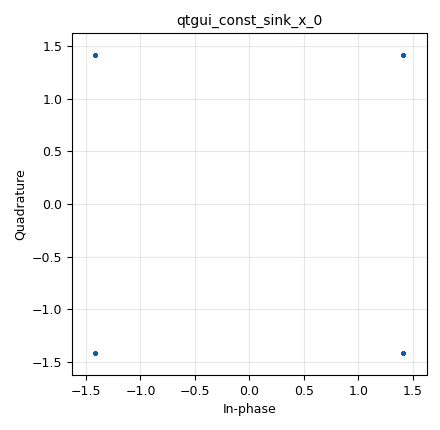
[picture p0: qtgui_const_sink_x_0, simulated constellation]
options:
  parameters:
    author: YASH
    generate_options: qt_gui
    id: bit_error_rate_checker
    output_language: python
    title: Not titled yet
  states: {}

blocks:
- name: amp
  id: variable_qtgui_range
  parameters:
    start: '0'
    step: '1'
    stop: '5'
    value: '1'
  states: {}
- name: constellation_points
  id: variable_constellation
  parameters:
    precision: '8'
    type: qpsk
  states: {}
- name: noise_amp
  id: variable_qtgui_range
  parameters:
    start: '0'
    step: '0.1'
    stop: '2'
    value: '0'
  states: {}
- name: samp_rate
  id: variable
  parameters:
    value: '32000'
  states: {}
- name: analog_noise_source_x_0
  id: analog_noise_source_x
  parameters:
    amp: noise_amp
    noise_type: analog.GR_GAUSSIAN
    seed: '0'
    type: complex
  states: {}
- name: analog_random_source_x_0
  id: analog_random_source_x
  parameters:
    max: '4'
    min: '0'
    num_samps: '1000'
    repeat: 'True'
    type: byte
  states: {}
- name: blocks_add_xx_0
  id: blocks_add_xx
  parameters:
    type: complex
  states: {}
- name: blocks_throttle2_0
  id: blocks_throttle2
  parameters:
    samples_per_second: samp_rate
    type: complex
  states: {}
- name: digital_constellation_decoder_cb_0
  id: digital_constellation_decoder_cb
  parameters:
    constellation: constellation_points
  states: {state: disabled}
- name: digital_constellation_encoder_bc_0
  id: digital_constellation_encoder_bc
  parameters:
    constellation: constellation_points
  states: {}
- name: qtgui_const_sink_x_0
  id: qtgui_const_sink_x
  parameters:
    autoscale: 'True'
    size: '10240'
    type: complex
  states: {}
- name: qtgui_histogram_sink_x_0
  id: qtgui_histogram_sink_x
  parameters:
    bins: '100'
    size: '10240'
    type: float
    xmax: '1.5'
    xmin: '-0.5'
  states: {state: disabled}

connections:
- [analog_noise_source_x_0, '0', blocks_add_xx_0, '1']
- [analog_random_source_x_0, '0', digital_constellation_encoder_bc_0, '0']
- [blocks_add_xx_0, '0', digital_constellation_decoder_cb_0, '0']
- [blocks_add_xx_0, '0', qtgui_const_sink_x_0, '0']
- [blocks_throttle2_0, '0', blocks_add_xx_0, '0']
- [digital_constellation_encoder_bc_0, '0', blocks_throttle2_0, '0']

metadata:
  file_format: 1
  grc_version: 3.10.7.0
